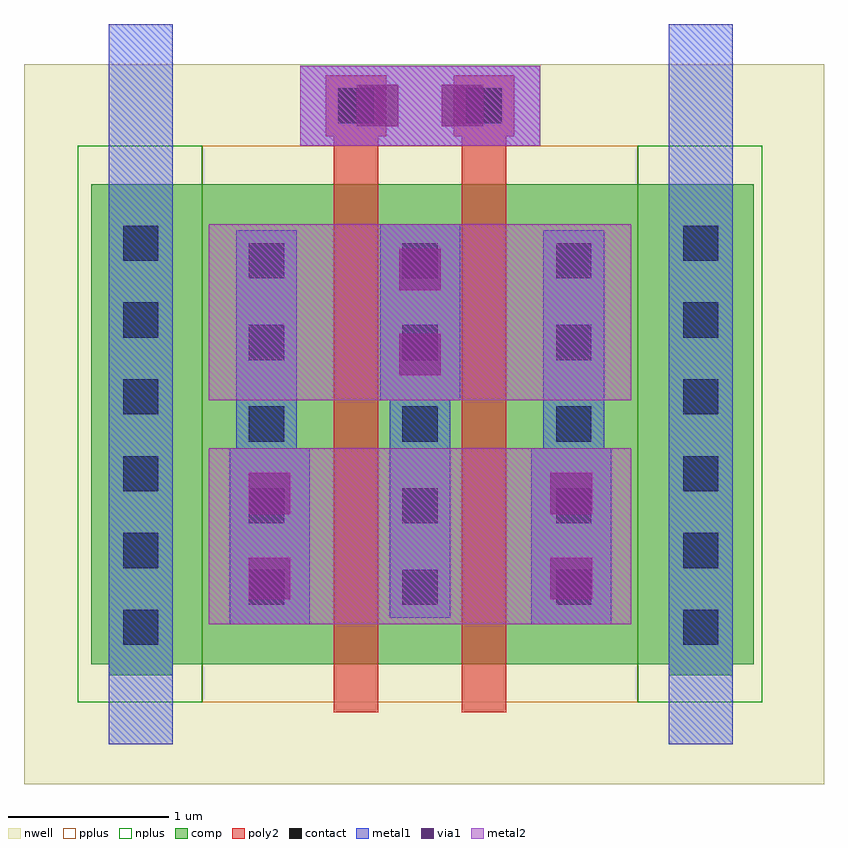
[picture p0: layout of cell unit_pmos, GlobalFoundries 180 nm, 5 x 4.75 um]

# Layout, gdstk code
from math import pi, radians
import gdstk
lib = gdstk.Library(unit=1e-6, precision=1e-09)
def R(c, l, rs):  # rectangles x0, y0, x1, y1
    for r in rs: c.add(gdstk.rectangle(r[:2], r[2:], *l))
def A(c, l, x, y, w, h, nx, ny, dx, dy):  # array of equal rectangles
    R(c, l, [(x+i*dx, y+j*dy, x+i*dx+w, y+j*dy+h) for i in range(nx) for j in range(ny)])
nwell = (21, 0)
comp = (22, 0)
poly2 = (30, 0)
pplus = (31, 0)
nplus = (32, 0)
contact = (33, 0)
metal1 = (34, 0)
via1 = (35, 0)
metal2 = (36, 0)

via_dev_1 = lib.new_cell('via_dev$1')
R(via_dev_1, comp, [(0,0,3,0.4)])
A(via_dev_1, contact, 0.19, 0.09, 0.22, 0.22, 6, 1, 0.48, 0)
R(via_dev_1, metal1, [(0,0,3,0.4)])

via_dev_2 = lib.new_cell('via_dev$2')
R(via_dev_2, metal1, [(0,0,0.5,1.1)])
R(via_dev_2, via1, [(0.12,0.155,0.38,0.415), (0.12,0.685,0.38,0.945)])
R(via_dev_2, metal2, [(0,0,0.5,1.1)])

via_dev = lib.new_cell('via_dev')
R(via_dev, metal1, [(0,0,1.5,0.5)])
R(via_dev, via1, [(0.355,0.12,0.615,0.38), (0.885,0.12,1.145,0.38)])
R(via_dev, metal2, [(0,0,1.5,0.5)])

pfet = lib.new_cell('pfet')
R(pfet, nwell, [(-0.9,-0.44,2.36,3.44)])
R(pfet, comp, [(-0.46,0,0,3), (0,0,1.46,3), (1.46,0,1.92,3)])
R(pfet, poly2, [(0.19,-0.3,0.47,3.3), (0.99,-0.3,1.27,3.3), (0.14,3.3,0.52,3.68), (0.94,3.3,1.32,3.68)])
R(pfet, pplus, [(-0.63,-0.24,2.09,3.24)])
A(pfet, contact, -0.34, 0.37, 0.22, 0.22, 3, 5, 0.96, 0.51)
R(pfet, contact, [(0.22,3.38,0.44,3.6), (1.02,3.38,1.24,3.6)])
A(pfet, metal1, -0.42, 0.29, 0.38, 2.42, 3, 1, 0.96, 0)
R(pfet, metal1, [(0.14,3.299,0.52,3.681), (0.94,3.299,1.32,3.681)])

unit_pmos = lib.new_cell('unit_pmos')
R(unit_pmos, nwell, [(-1.745,-0.75,3.255,3.75)])
R(unit_pmos, comp, [(-1.325,0,2.815,3)])
R(unit_pmos, nplus, [(-1.41,-0.24,-0.63,3.24), (2.09,-0.24,2.87,3.24)])
unit_pmos.add(gdstk.FlexPath([(-0.59,0.8),(2.05,0.8)], 1.1, ends="flush", simple_path=True, layer=36, datatype=0))  # metal2
unit_pmos.add(gdstk.FlexPath([(-0.59,2.2),(2.05,2.2)], 1.1, ends="flush", simple_path=True, layer=36, datatype=0))  # metal2
unit_pmos.add(gdstk.FlexPath([(-1.015,-0.5),(-1.015,4)], 0.4, ends="flush", simple_path=True, layer=34, datatype=0))  # metal1
unit_pmos.add(gdstk.FlexPath([(2.485,-0.5),(2.485,4)], 0.4, ends="flush", simple_path=True, layer=34, datatype=0))  # metal1
unit_pmos.add(gdstk.Reference(via_dev_1, (-0.815,-0.07), rotation=pi/2))
unit_pmos.add(gdstk.Reference(via_dev_1, (2.685,-0.07), rotation=pi/2))
unit_pmos.add(gdstk.Reference(via_dev_2, (-0.46,0.25)))
unit_pmos.add(gdstk.Reference(via_dev_2, (0.48,1.65)))
unit_pmos.add(gdstk.Reference(via_dev_2, (1.425,0.25)))
unit_pmos.add(gdstk.Reference(via_dev, (-0.02,3.24)))
unit_pmos.add(gdstk.Reference(pfet, (0,0)))

lib.write_gds('unit_pmos.gds')
